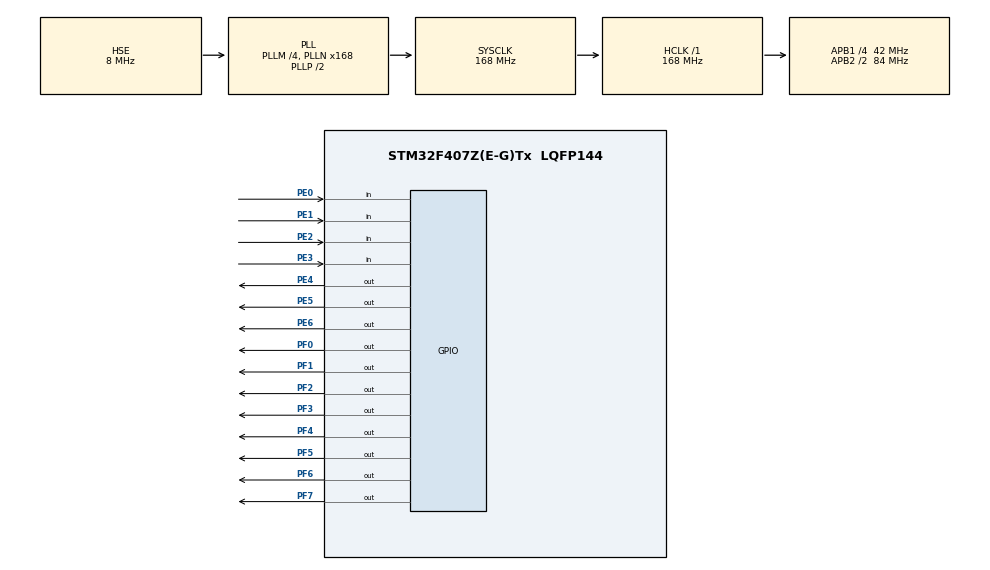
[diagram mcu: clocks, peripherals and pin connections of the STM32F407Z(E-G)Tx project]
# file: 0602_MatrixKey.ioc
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Mcu.Family=STM32F4
Mcu.Name=STM32F407Z(E-G)Tx
Mcu.Package=LQFP144
NVIC.PriorityGroup=NVIC_PRIORITYGROUP_4
PA13.Mode=Serial_Wire
PA13.Signal=SYS_JTMS-SWDIO
PA14.Mode=Serial_Wire
PA14.Signal=SYS_JTCK-SWCLK
PE0.GPIO_PuPd=GPIO_PULLUP
PE0.Signal=GPIO_Input
PE1.GPIO_PuPd=GPIO_PULLUP
PE1.Signal=GPIO_Input
PE2.GPIO_PuPd=GPIO_PULLUP
PE2.Signal=GPIO_Input
PE3.GPIO_PuPd=GPIO_PULLUP
PE3.Signal=GPIO_Input
PE4.GPIO_PuPd=GPIO_NOPULL
PE4.PinState=GPIO_PIN_SET
PE4.Signal=GPIO_Output
PE5.PinState=GPIO_PIN_SET
PE5.Signal=GPIO_Output
PE6.PinState=GPIO_PIN_SET
PE6.Signal=GPIO_Output
PF0.PinState=GPIO_PIN_SET
PF0.Signal=GPIO_Output
PF1.PinState=GPIO_PIN_SET
PF1.Signal=GPIO_Output
PF2.PinState=GPIO_PIN_RESET
PF2.Signal=GPIO_Output
PF3.PinState=GPIO_PIN_SET
PF3.Signal=GPIO_Output
PF4.PinState=GPIO_PIN_SET
PF4.Signal=GPIO_Output
PF5.PinState=GPIO_PIN_SET
PF5.Signal=GPIO_Output
PF6.PinState=GPIO_PIN_SET
PF6.Signal=GPIO_Output
PF7.PinState=GPIO_PIN_SET
PF7.Signal=GPIO_Output
PH0-OSC_IN.Mode=HSE-External-Oscillator
PH0-OSC_IN.Signal=RCC_OSC_IN
PH1-OSC_OUT.Mode=HSE-External-Oscillator
PH1-OSC_OUT.Signal=RCC_OSC_OUT
ProjectManager.HeapSize=0x200
ProjectManager.StackSize=0x400
ProjectManager.TargetToolchain=STM32CubeIDE
RCC.48MHZClocksFreq_Value=84000000
RCC.AHBFreq_Value=168000000
RCC.APB1CLKDivider=RCC_HCLK_DIV4
RCC.APB1Freq_Value=42000000
RCC.APB1TimFreq_Value=84000000
RCC.APB2CLKDivider=RCC_HCLK_DIV2
RCC.APB2Freq_Value=84000000
RCC.APB2TimFreq_Value=168000000
RCC.CortexFreq_Value=168000000
RCC.HCLKFreq_Value=168000000
RCC.HSE_VALUE=8000000
RCC.HSI_VALUE=16000000
RCC.LSE_VALUE=32768
RCC.PLLM=4
RCC.PLLN=168
RCC.PLLSourceVirtual=RCC_PLLSOURCE_HSE
RCC.SYSCLKFreq_VALUE=168000000
RCC.SYSCLKSource=RCC_SYSCLKSOURCE_PLLCLK
RCC.VCOOutputFreq_Value=336000000
board=custom

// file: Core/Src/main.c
/* USER CODE BEGIN Header */
/**
  ******************************************************************************
  * @file           : main.c
  * @brief          : Main program body
  ******************************************************************************
  * @attention
  *
  * Copyright (c) 2026 STMicroelectronics.
  * All rights reserved.
  *
  * This software is licensed under terms that can be found in the LICENSE file
  * in the root directory of this software component.
  * If no LICENSE file comes with this software, it is provided AS-IS.
  *
  ******************************************************************************
  */
/* USER CODE END Header */
#include "main.h"
#include "gpio.h"

/* USER CODE BEGIN PV */
uint8_t KeyVal = 0;
/* USER CODE END PV */

void SystemClock_Config(void);

int main(void)
{

  /* MCU Configuration--------------------------------------------------------*/

  /* Reset of all peripherals, Initializes the Flash interface and the Systick. */
  HAL_Init();

  /* Configure the system clock */
  SystemClock_Config();

  /* Initialize all configured peripherals */
  MX_GPIO_Init();

  /* Infinite loop */
  while (1)
  {

    /* USER CODE BEGIN 3 */
	  HAL_GPIO_WritePin(GPIOE, GPIO_PIN_4, GPIO_PIN_RESET);
	    HAL_GPIO_WritePin(GPIOE, GPIO_PIN_5|GPIO_PIN_6, GPIO_PIN_SET);
	    HAL_Delay(1);
	    if(HAL_GPIO_ReadPin(GPIOE, GPIO_PIN_0) == GPIO_PIN_RESET)
	    {
	      while(HAL_GPIO_ReadPin(GPIOE, GPIO_PIN_0)==GPIO_PIN_RESET);
	      KeyVal = 1;
	    }
	    if(HAL_GPIO_ReadPin(GPIOE, GPIO_PIN_1) == GPIO_PIN_RESET)
	    {
	      while(HAL_GPIO_ReadPin(GPIOE, GPIO_PIN_1)==GPIO_PIN_RESET);
	      KeyVal = 2;
	    }
	    if(HAL_GPIO_ReadPin(GPIOE, GPIO_PIN_2) == GPIO_PIN_RESET)
	    {
	      while(HAL_GPIO_ReadPin(GPIOE, GPIO_PIN_2)==GPIO_PIN_RESET);
	      KeyVal = 3;
	    }
	    if(HAL_GPIO_ReadPin(GPIOE, GPIO_PIN_3) == GPIO_PIN_RESET)
	    {
	      while(HAL_GPIO_ReadPin(GPIOE, GPIO_PIN_3)==GPIO_PIN_RESET);
	      KeyVal = 4;
	    }

	    //扫描第1行 PE5拉低
	    HAL_GPIO_WritePin(GPIOE, GPIO_PIN_5, GPIO_PIN_RESET);
	    HAL_GPIO_WritePin(GPIOE, GPIO_PIN_4|GPIO_PIN_6, GPIO_PIN_SET);
	    HAL_Delay(1);
	    if(HAL_GPIO_ReadPin(GPIOE, GPIO_PIN_0) == GPIO_PIN_RESET)
	    {
	      while(HAL_GPIO_ReadPin(GPIOE, GPIO_PIN_0)==GPIO_PIN_RESET);
	      KeyVal = 5;
	    }
	    if(HAL_GPIO_ReadPin(GPIOE, GPIO_PIN_1) == GPIO_PIN_RESET)
	    {
	      while(HAL_GPIO_ReadPin(GPIOE, GPIO_PIN_1)==GPIO_PIN_RESET);
	      KeyVal = 6;
	    }
	    if(HAL_GPIO_ReadPin(GPIOE, GPIO_PIN_2) == GPIO_PIN_RESET)
	    {
	      while(HAL_GPIO_ReadPin(GPIOE, GPIO_PIN_2)==GPIO_PIN_RESET);
	      KeyVal = 7;
	    }
	    if(HAL_GPIO_ReadPin(GPIOE, GPIO_PIN_3) == GPIO_PIN_RESET)
	    {
	      while(HAL_GPIO_ReadPin(GPIOE, GPIO_PIN_3)==GPIO_PIN_RESET);
	      KeyVal = 8;
	    }

	    //扫描第2行 PE6拉低
	    HAL_GPIO_WritePin(GPIOE, GPIO_PIN_6, GPIO_PIN_RESET);
	    HAL_GPIO_WritePin(GPIOE, GPIO_PIN_4|GPIO_PIN_5, GPIO_PIN_SET);
	    HAL_Delay(1);
	    if(HAL_GPIO_ReadPin(GPIOE, GPIO_PIN_0) == GPIO_PIN_RESET)
	    {
	      while(HAL_GPIO_ReadPin(GPIOE, GPIO_PIN_0)==GPIO_PIN_RESET);
	      KeyVal = 9;
	    }
	    if(HAL_GPIO_ReadPin(GPIOE, GPIO_PIN_1) == GPIO_PIN_RESET)
	    {
	      while(HAL_GPIO_ReadPin(GPIOE, GPIO_PIN_1)==GPIO_PIN_RESET);
	      KeyVal = 10;
	    }
	    if(HAL_GPIO_ReadPin(GPIOE, GPIO_PIN_2) == GPIO_PIN_RESET)
	    {
	      while(HAL_GPIO_ReadPin(GPIOE, GPIO_PIN_2)==GPIO_PIN_RESET);
	      KeyVal = 11;
	    }
	    if(HAL_GPIO_ReadPin(GPIOE, GPIO_PIN_3) == GPIO_PIN_RESET)
	    {
	      while(HAL_GPIO_ReadPin(GPIOE, GPIO_PIN_3)==GPIO_PIN_RESET);
	      KeyVal = 12;
	    }

	    //========= 8421码输出到PF口LED =========
	    //先全部熄灭PF0~PF7
	    HAL_GPIO_WritePin(GPIOF, GPIO_PIN_0|GPIO_PIN_1|GPIO_PIN_2|GPIO_PIN_3|GPIO_PIN_4|GPIO_PIN_5|GPIO_PIN_6|GPIO_PIN_7, GPIO_PIN_SET);

	    //低4位：8421
	    if(KeyVal & (1<<0)) HAL_GPIO_WritePin(GPIOF, GPIO_PIN_0, GPIO_PIN_RESET); //1
	    if(KeyVal & (1<<1)) HAL_GPIO_WritePin(GPIOF, GPIO_PIN_1, GPIO_PIN_RESET); //2
	    if(KeyVal & (1<<2)) HAL_GPIO_WritePin(GPIOF, GPIO_PIN_2, GPIO_PIN_RESET); //4
	    if(KeyVal & (1<<3)) HAL_GPIO_WritePin(GPIOF, GPIO_PIN_3, GPIO_PIN_RESET); //8

	    HAL_Delay(10);
  }
  /* USER CODE END 3 */
}

void SystemClock_Config(void)
{
  RCC_OscInitTypeDef RCC_OscInitStruct = {0};
  RCC_ClkInitTypeDef RCC_ClkInitStruct = {0};

  /** Configure the main internal regulator output voltage
  */
  __HAL_RCC_PWR_CLK_ENABLE();
  __HAL_PWR_VOLTAGESCALING_CONFIG(PWR_REGULATOR_VOLTAGE_SCALE1);

  /** Initializes the RCC Oscillators according to the specified parameters
  * in the RCC_OscInitTypeDef structure.
  */
  RCC_OscInitStruct.OscillatorType = RCC_OSCILLATORTYPE_HSE;
  RCC_OscInitStruct.HSEState = RCC_HSE_ON;
  RCC_OscInitStruct.PLL.PLLState = RCC_PLL_ON;
  RCC_OscInitStruct.PLL.PLLSource = RCC_PLLSOURCE_HSE;
  RCC_OscInitStruct.PLL.PLLM = 4;
  RCC_OscInitStruct.PLL.PLLN = 168;
  RCC_OscInitStruct.PLL.PLLP = RCC_PLLP_DIV2;
  RCC_OscInitStruct.PLL.PLLQ = 4;
  if (HAL_RCC_OscConfig(&RCC_OscInitStruct) != HAL_OK)
  {
    Error_Handler();
  }

  /** Initializes the CPU, AHB and APB buses clocks
  */
  RCC_ClkInitStruct.ClockType = RCC_CLOCKTYPE_HCLK|RCC_CLOCKTYPE_SYSCLK
                              |RCC_CLOCKTYPE_PCLK1|RCC_CLOCKTYPE_PCLK2;
  RCC_ClkInitStruct.SYSCLKSource = RCC_SYSCLKSOURCE_PLLCLK;
  RCC_ClkInitStruct.AHBCLKDivider = RCC_SYSCLK_DIV1;
  RCC_ClkInitStruct.APB1CLKDivider = RCC_HCLK_DIV4;
  RCC_ClkInitStruct.APB2CLKDivider = RCC_HCLK_DIV2;

  if (HAL_RCC_ClockConfig(&RCC_ClkInitStruct, FLASH_LATENCY_5) != HAL_OK)
  {
    Error_Handler();
  }
}

void Error_Handler(void)
{
  __disable_irq();
  while (1)
  {
  }
}
